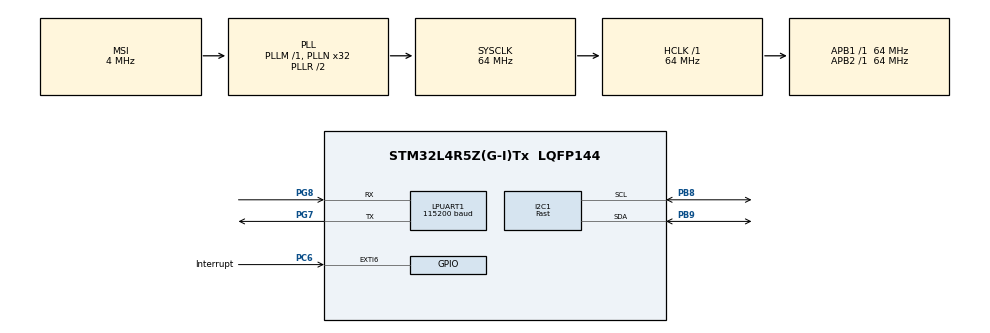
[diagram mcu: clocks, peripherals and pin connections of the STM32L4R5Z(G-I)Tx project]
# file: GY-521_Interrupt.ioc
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Mcu.Family=STM32L4
RCC.MSI_VALUE=4000000
PG8.Mode=Asynchronous
RCC.CortexFreq_Value=64000000
PG7.Signal=LPUART1_TX
I2C1.I2C_Speed_Mode=I2C_Fast
PG8.Signal=LPUART1_RX
PC6.Signal=GPXTI6
PC6.GPIO_Label=Interrupt
LPUART1.WordLength=UART_WORDLENGTH_8B
RCC.SYSCLKSource=RCC_SYSCLKSOURCE_PLLCLK
ProjectManager.StackSize=0x400
ProjectManager.TargetToolchain=STM32CubeIDE
RCC.HCLKFreq_Value=64000000
PB9.Mode=I2C
RCC.APB2TimFreq_Value=64000000
I2C1.Timing=0x00602173
PG7.Mode=Asynchronous
RCC.LSE_VALUE=32768
RCC.AHBFreq_Value=64000000
RCC.HSE_VALUE=8000000
board=custom
RCC.VCOOutputFreq_Value=128000000
RCC.APB2Freq_Value=64000000
Mcu.Name=STM32L4R5Z(G-I)Tx
LPUART1.BaudRate=115200
RCC.SYSCLKFreq_VALUE=64000000
Mcu.Package=LQFP144
PB9.Signal=I2C1_SDA
NVIC.EXTI9_5_IRQn=true\:0\:0\:false\:false\:true\:true\:true
ProjectManager.HeapSize=0x200
RCC.HSI_VALUE=16000000
NVIC.PriorityGroup=NVIC_PRIORITYGROUP_4
PB8.Mode=I2C
RCC.PLLN=32
RCC.APB1TimFreq_Value=64000000
PB8.Signal=I2C1_SCL
RCC.APB1Freq_Value=64000000
RCC.HSI48_VALUE=48000000

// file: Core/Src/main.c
/* USER CODE BEGIN Header */
/**
  ******************************************************************************
  * @file           : main.c
  * @brief          : Main program body
  ******************************************************************************
  * @attention
  *
  * <h2><center>&copy; Copyright (c) 2021 STMicroelectronics.
  * All rights reserved.</center></h2>
  *
  * This software component is licensed by ST under BSD 3-Clause license,
  * the "License"; You may not use this file except in compliance with the
  * License. You may obtain a copy of the License at:
  *                        opensource.org/licenses/BSD-3-Clause
  *
  ******************************************************************************
  */
/* USER CODE END Header */
#include "main.h"

/* USER CODE BEGIN Includes */
#include "stm32l4xx_hal.h"
#include "defines.h"
#include "tm_stm32_disco.h"
#include "tm_stm32_delay.h"
#include "tm_stm32_mpu6050.h"
//#include "tm_stm32_exti.h"
#include "stdio.h"
/* USER CODE END Includes */

I2C_HandleTypeDef hi2c1;

UART_HandleTypeDef hlpuart1;

void SystemClock_Config(void);
static void MX_GPIO_Init(void);
static void MX_I2C1_Init(void);
static void MX_LPUART1_UART_Init(void);

/* USER CODE BEGIN 0 */
/* MPU6050 working structure */
TM_MPU6050_t MPU6050;

/* Interrupts structure */
TM_MPU6050_Interrupt_t MPU6050_Interrupts;

/* Define GPIO PORT and PIN for interrupt handling */
#define IRQ_PORT    GPIOA
#define IRQ_PIN     GPIO_PIN_0

/* Flag when we should read */
uint32_t read = 0;
int _write(int file, char *ptr, int len)

{

HAL_UART_Transmit(&hlpuart1, (uint8_t *) ptr, len, 10);

return len;

}
/* USER CODE END 0 */

int main(void)
{

  /* MCU Configuration--------------------------------------------------------*/

  /* Reset of all peripherals, Initializes the Flash interface and the Systick. */
  HAL_Init();

  /* Configure the system clock */
  SystemClock_Config();

  /* Initialize all configured peripherals */
  MX_GPIO_Init();
  MX_I2C1_Init();
  MX_LPUART1_UART_Init();
  /* USER CODE BEGIN 2 */
  TM_DISCO_LedInit();

  	/* Init button */
  	TM_DISCO_ButtonInit();

  	/* Try to init MPU6050, device address is 0xD0, AD0 pin is set to low */
  		if (TM_MPU6050_Init(&MPU6050, TM_MPU6050_Device_0, TM_MPU6050_Accelerometer_8G, TM_MPU6050_Gyroscope_250s) == TM_MPU6050_Result_Ok) {
  			/* Green LED on */
  			TM_DISCO_LedOn(LED_GREEN);
  		}

  		/* Set data rate to 100 Hz */
  		TM_MPU6050_SetDataRate(&MPU6050, TM_MPU6050_DataRate_100Hz);

  		/* Enable MPU interrupts */
  		TM_MPU6050_EnableInterrupts(&MPU6050);

  		/* Enable interrupts on STM32Fxxx device, rising edge */
//  		TM_EXTI_Attach(IRQ_PORT, IRQ_PIN, TM_EXTI_Trigger_Rising);
  /* USER CODE END 2 */

  /* Infinite loop */
  /* USER CODE BEGIN WHILE */
  while (1)
  {
	  /* If IRQ happen */
	  printf("Pros...\n");
	  	  		if (read) {
	  	  			/* Reset */
	  	  			read = 0;

	  	  			/* Read interrupts */
	  	  			TM_MPU6050_ReadInterrupts(&MPU6050, &MPU6050_Interrupts);

	  	  			/* Check if motion is detected */
	  	  			if (MPU6050_Interrupts.F.MotionDetection) {
	  	  				/* Toggle RED */
	  	  				TM_DISCO_LedToggle(LED_RED);
	  	  			}

	  	  			/* Check if data ready */
	  	  			if (MPU6050_Interrupts.F.DataReady) {
	  	  				/* Read everything from device */
	  	  				TM_MPU6050_ReadAll(&MPU6050);
	  	  				printf("AX: %i,AY: %i,AZ: %i\nGX: %i,GY: %i,GZ: %i\n",MPU6050.Accelerometer_X,MPU6050.Accelerometer_Y,MPU6050.Accelerometer_Z,MPU6050.Gyroscope_X,MPU6050.Gyroscope_Y,MPU6050.Gyroscope_Z);
	  	  				/* Raw data are available for use when needed */
	  	  				//MPU6050.Accelerometer_X;
	  	  				//MPU6050.Accelerometer_Y;
	  	  				//MPU6050.Accelerometer_Z;
	  	  				//MPU6050.Gyroscope_X;
	  	  				//MPU6050.Gyroscope_Y;
	  	  				//MPU6050.Gyroscope_Z;
	  	  				//MPU6050.Temperature;
	  	  			}
	  	  		}
	  	/* Delay a little */
	  	Delayms(100);
    /* USER CODE END WHILE */

  }
}

void SystemClock_Config(void)
{
  RCC_OscInitTypeDef RCC_OscInitStruct = {0};
  RCC_ClkInitTypeDef RCC_ClkInitStruct = {0};
  RCC_PeriphCLKInitTypeDef PeriphClkInit = {0};

  /** Configure the main internal regulator output voltage
  */
  if (HAL_PWREx_ControlVoltageScaling(PWR_REGULATOR_VOLTAGE_SCALE1) != HAL_OK)
  {
    Error_Handler();
  }
  /** Initializes the RCC Oscillators according to the specified parameters
  * in the RCC_OscInitTypeDef structure.
  */
  RCC_OscInitStruct.OscillatorType = RCC_OSCILLATORTYPE_MSI;
  RCC_OscInitStruct.MSIState = RCC_MSI_ON;
  RCC_OscInitStruct.MSICalibrationValue = 0;
  RCC_OscInitStruct.MSIClockRange = RCC_MSIRANGE_6;
  RCC_OscInitStruct.PLL.PLLState = RCC_PLL_ON;
  RCC_OscInitStruct.PLL.PLLSource = RCC_PLLSOURCE_MSI;
  RCC_OscInitStruct.PLL.PLLM = 1;
  RCC_OscInitStruct.PLL.PLLN = 32;
  RCC_OscInitStruct.PLL.PLLP = RCC_PLLP_DIV2;
  RCC_OscInitStruct.PLL.PLLQ = RCC_PLLQ_DIV2;
  RCC_OscInitStruct.PLL.PLLR = RCC_PLLR_DIV2;
  if (HAL_RCC_OscConfig(&RCC_OscInitStruct) != HAL_OK)
  {
    Error_Handler();
  }
  /** Initializes the CPU, AHB and APB buses clocks
  */
  RCC_ClkInitStruct.ClockType = RCC_CLOCKTYPE_HCLK|RCC_CLOCKTYPE_SYSCLK
                              |RCC_CLOCKTYPE_PCLK1|RCC_CLOCKTYPE_PCLK2;
  RCC_ClkInitStruct.SYSCLKSource = RCC_SYSCLKSOURCE_PLLCLK;
  RCC_ClkInitStruct.AHBCLKDivider = RCC_SYSCLK_DIV1;
  RCC_ClkInitStruct.APB1CLKDivider = RCC_HCLK_DIV1;
  RCC_ClkInitStruct.APB2CLKDivider = RCC_HCLK_DIV1;

  if (HAL_RCC_ClockConfig(&RCC_ClkInitStruct, FLASH_LATENCY_3) != HAL_OK)
  {
    Error_Handler();
  }
  PeriphClkInit.PeriphClockSelection = RCC_PERIPHCLK_LPUART1|RCC_PERIPHCLK_I2C1;
  PeriphClkInit.Lpuart1ClockSelection = RCC_LPUART1CLKSOURCE_PCLK1;
  PeriphClkInit.I2c1ClockSelection = RCC_I2C1CLKSOURCE_PCLK1;
  if (HAL_RCCEx_PeriphCLKConfig(&PeriphClkInit) != HAL_OK)
  {
    Error_Handler();
  }
}

static void MX_I2C1_Init(void)
{

  hi2c1.Instance = I2C1;
  hi2c1.Init.Timing = 0x00602173;
  hi2c1.Init.OwnAddress1 = 0;
  hi2c1.Init.AddressingMode = I2C_ADDRESSINGMODE_7BIT;
  hi2c1.Init.DualAddressMode = I2C_DUALADDRESS_DISABLE;
  hi2c1.Init.OwnAddress2 = 0;
  hi2c1.Init.OwnAddress2Masks = I2C_OA2_NOMASK;
  hi2c1.Init.GeneralCallMode = I2C_GENERALCALL_DISABLE;
  hi2c1.Init.NoStretchMode = I2C_NOSTRETCH_DISABLE;
  if (HAL_I2C_Init(&hi2c1) != HAL_OK)
  {
    Error_Handler();
  }
  /** Configure Analogue filter
  */
  if (HAL_I2CEx_ConfigAnalogFilter(&hi2c1, I2C_ANALOGFILTER_ENABLE) != HAL_OK)
  {
    Error_Handler();
  }
  /** Configure Digital filter
  */
  if (HAL_I2CEx_ConfigDigitalFilter(&hi2c1, 0) != HAL_OK)
  {
    Error_Handler();
  }

}

static void MX_LPUART1_UART_Init(void)
{

  hlpuart1.Instance = LPUART1;
  hlpuart1.Init.BaudRate = 115200;
  hlpuart1.Init.WordLength = UART_WORDLENGTH_8B;
  hlpuart1.Init.StopBits = UART_STOPBITS_1;
  hlpuart1.Init.Parity = UART_PARITY_NONE;
  hlpuart1.Init.Mode = UART_MODE_TX_RX;
  hlpuart1.Init.HwFlowCtl = UART_HWCONTROL_NONE;
  hlpuart1.Init.OneBitSampling = UART_ONE_BIT_SAMPLE_DISABLE;
  hlpuart1.Init.ClockPrescaler = UART_PRESCALER_DIV1;
  hlpuart1.AdvancedInit.AdvFeatureInit = UART_ADVFEATURE_NO_INIT;
  hlpuart1.FifoMode = UART_FIFOMODE_DISABLE;
  if (HAL_UART_Init(&hlpuart1) != HAL_OK)
  {
    Error_Handler();
  }
  if (HAL_UARTEx_SetTxFifoThreshold(&hlpuart1, UART_TXFIFO_THRESHOLD_1_8) != HAL_OK)
  {
    Error_Handler();
  }
  if (HAL_UARTEx_SetRxFifoThreshold(&hlpuart1, UART_RXFIFO_THRESHOLD_1_8) != HAL_OK)
  {
    Error_Handler();
  }
  if (HAL_UARTEx_DisableFifoMode(&hlpuart1) != HAL_OK)
  {
    Error_Handler();
  }

}

static void MX_GPIO_Init(void)
{
  GPIO_InitTypeDef GPIO_InitStruct = {0};

  /* GPIO Ports Clock Enable */
  __HAL_RCC_GPIOG_CLK_ENABLE();
  HAL_PWREx_EnableVddIO2();
  __HAL_RCC_GPIOC_CLK_ENABLE();
  __HAL_RCC_GPIOB_CLK_ENABLE();

  /*Configure GPIO pin : Interrupt_Pin */
  GPIO_InitStruct.Pin = Interrupt_Pin;
  GPIO_InitStruct.Mode = GPIO_MODE_IT_RISING;
  GPIO_InitStruct.Pull = GPIO_NOPULL;
  HAL_GPIO_Init(Interrupt_GPIO_Port, &GPIO_InitStruct);

  /* EXTI interrupt init*/
  HAL_NVIC_SetPriority(EXTI9_5_IRQn, 0, 0);
  HAL_NVIC_EnableIRQ(EXTI9_5_IRQn);

}

/* USER CODE BEGIN 4 */
/* EXTI handler */
void HAL_GPIO_EXTI_Callback(uint16_t GPIO_Pin) {
	/* Check for PIN */
	if (GPIO_Pin == Interrupt_Pin) {
		/* Read interrupts from MPU6050 */
		read = 1;
	}
}
/* USER CODE END 4 */

void Error_Handler(void)
{
  __disable_irq();
  while (1)
  {
  }
}

/************************ (C) COPYRIGHT STMicroelectronics *****END OF FILE****/
